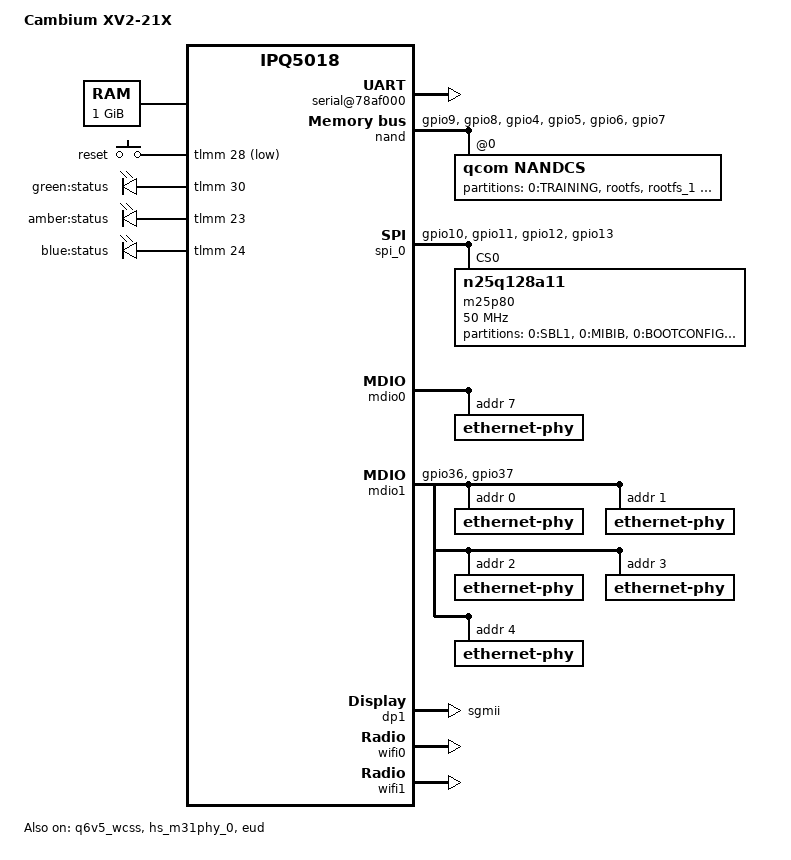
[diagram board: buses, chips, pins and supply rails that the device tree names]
// SPDX-License-Identifier: GPL-2.0
/dts-v1/;
/* Copyright (c) 2018-2021, The Linux Foundation. All rights reserved.
 *
 * Copyright (c) 2021 Qualcomm Innovation Center, Inc. All rights reserved.
 *
 * Permission to use, copy, modify, and/or distribute this software for any
 * purpose with or without fee is hereby granted, provided that the above
 * copyright notice and this permission notice appear in all copies.
 *
 * THE SOFTWARE IS PROVIDED "AS IS" AND THE AUTHOR DISCLAIMS ALL WARRANTIES
 * WITH REGARD TO THIS SOFTWARE INCLUDING ALL IMPLIED WARRANTIES OF
 * MERCHANTABILITY AND FITNESS. IN NO EVENT SHALL THE AUTHOR BE LIABLE FOR
 * ANY SPECIAL, DIRECT, INDIRECT, OR CONSEQUENTIAL DAMAGES OR ANY DAMAGES
 * WHATSOEVER RESULTING FROM LOSS OF USE, DATA OR PROFITS, WHETHER IN AN
 * ACTION OF CONTRACT, NEGLIGENCE OR OTHER TORTIOUS ACTION, ARISING OUT OF
 * OR IN CONNECTION WITH THE USE OR PERFORMANCE OF THIS SOFTWARE.
 */

#include "ipq5018.dtsi"
#include <dt-bindings/input/input.h>

/ {
	#address-cells = <0x2>;
	#size-cells = <0x2>;
	model = "Cambium XV2-21X";
	compatible = "cambium,xv2-21x", "qcom,ipq5018-mp03.3", "qcom,ipq5018";
	interrupt-parent = <&intc>;

	/*
	 * XV2-22H has 1GB of DRAM. ipq5018-memory.dtsi hardcodes a 512MB
	 * memory node, which makes the kernel believe RAM ends at 0x60000000 --
	 * exactly where U-Boot loads the boot FIT, so the kernel hangs before
	 * console. Override with the real size (matches vendor + m0vse's
	 * working XV2-22H tree).
	 */
	memory {
		device_type = "memory";
		reg = <0x0 0x40000000 0x0 0x40000000>;
	};

	aliases {
		sdhc1 = &sdhc_1; /* SDC1 eMMC slot */
		serial0 = &blsp1_uart1;
		serial1 = &blsp1_uart2;
		ethernet1 = "/soc/dp1";

		led-boot = &led_power;
		led-failsafe = &led_power;
		led-running = &led_power;
		led-upgrade = &led_power;
	};

	chosen {
		bootargs = "console=ttyMSM0,115200,n8 rw init=/init";
		/*
		 * NOTE: U-Boot overwrites /chosen/bootargs from its own env,
		 * so only bootargs-append survives. Do NOT bother putting
		 * modprobe.blacklist= here -- OpenWrt loads modules with
		 * kmodloader from /etc/modules.d/*, which ignores it (verified:
		 * ath11k loaded anyway). Drop a module's AUTOLOAD instead.
		 */
		bootargs-append = " swiotlb=1 coherent_pool=2M";
		stdout-path = "serial0";
	};

	reserved-memory {
		/*
		 * Console ramoops, for post-mortem of boots that hang before
		 * userspace. Sits immediately above the Q6 carveout, which
		 * ends at 0x4FD00000 (q6_mem_regions = 0x4B000000 + 0x4D00000).
		 * mem-type = <1> (uncached) is REQUIRED -- with the default
		 * cached mapping the zone header is lost in the D-cache across
		 * a reset and pstore finds nothing (same bug as WIFI-15350).
		 */
		ramoops@4FD00000 {
			compatible = "ramoops";
			reg = <0x0 0x4FD00000 0x0 0x100000>;
			console-size = <0x80000>;
			record-size = <0x8000>;
			pmsg-size = <0x8000>;
			ftrace-size = <0x0>;
			mem-type = <1>;
		};

	#ifdef __IPQ_MEM_PROFILE_256_MB__
	/*		   256 MB Profile
	 * +==========+==============+=========================+
	 * |	  |	      |			 |
	 * |  Region  | Start Offset |	  Size	   |
	 * |	  |	      |			 |
	 * +----------+--------------+-------------------------+
	 * |    NSS   |  0x40000000  |	   8MB	   |
	 * +----------+--------------+-------------------------+
	 * |   Linux  |  0x40800000  | Depends on total memory |
	 * +----------+--------------+-------------------------+
	 * |   uboot  |  0x4A600000  |	   4MB	   |
	 * +----------+--------------+-------------------------+
	 * |    SBL   |  0x4AA00000  |	   1MB	   |
	 * +----------+--------------+-------------------------+
	 * |   smem   |  0x4AB00000  |	   1MB	   |
	 * +----------+--------------+-------------------------+
	 * |    TZ    |  0x4AC00000  |	   4MB	   |
	 * +----------+--------------+-------------------------+
	 * |    Q6    |	      |			 |
	 * |   code/  |  0x4B000000  |	  20MB	   |
	 * |   data   |	      |			 |
	 * +----------+--------------+-------------------------+
	 * |  IPQ5018 |	      |			 |
	 * |   data   |  0x4C400000  |	  13MB	   |
	 * +----------+--------------+-------------------------+
	 * |  IPQ5018 |	      |			 |
	 * |  M3 Dump |  0x4D100000  |	   1MB	   |
	 * +----------+--------------+-------------------------+
	 * |  IPQ5018 |	      |			 |
	 * |   QDSS   |  0x4D200000  |	   1MB	   |
	 * +----------+--------------+-------------------------+
	 * | QCN6122_1|	      |			 |
	 * |   data   |  0x4D300000  |	  13MB	   |
	 * +----------+--------------+-------------------------+
	 * | QCN6122_1|	      |			 |
	 * |  M3 Dump |  0x4E000000  |	   1MB	   |
	 * +----------+--------------+-------------------------+
	 * | QCN6122_1|	      |			 |
	 * |   QDSS   |  0x4E100000  |	   1MB	   |
	 * +----------+--------------+-------------------------+
	 * | QCN6122_2|	      |			 |
	 * |   data   |  0x4E200000  |	  13MB	   |
	 * +----------+--------------+-------------------------+
	 * | QCN6122_2|	      |			 |
	 * |  M3 Dump |  0x4EF00000  |	   1MB	   |
	 * +----------+--------------+-------------------------+
	 * | QCN6122_2|	      |			 |
	 * |   QDSS   |  0x4F000000  |	   1MB	   |
	 * +----------+--------------+-------------------------+
	 * |						   |
	 * |	    Rest of the memory for Linux	   |
	 * |						   |
	 * +===================================================+
	 */
		q6_mem_regions: q6_mem_regions@4B000000 {
			no-map;
			reg = <0x0 0x4B000000 0x0 0x4100000>;
		};

		q6_code_data: q6_code_data@4B000000 {
			no-map;
			reg = <0x0 0x4B000000 0x0 0x1400000>;
		};

		q6_ipq5018_data: q6_ipq5018_data@4C400000 {
			no-map;
			reg = <0x0 0x4C400000 0x0 0xD00000>;
		};

		m3_dump: m3_dump@4D100000 {
			no-map;
			reg = <0x0 0x4D100000 0x0 0x100000>;
		};

		q6_etr_region: q6_etr_dump@4D200000 {
			no-map;
			reg = <0x0 0x4D200000 0x0 0x100000>;
		};

		q6_qcn6122_data1: q6_qcn6122_data1@4D300000 {
			no-map;
			reg = <0x0 0x4D300000 0x0 0xD00000>;
		};

		m3_dump_qcn6122_1: m3_dump_qcn6122_1@4E000000 {
			no-map;
			reg = <0x0 0x4E000000 0x0 0x100000>;
		};

		q6_qcn6122_etr_1: q6_qcn6122_etr_1@4E100000 {
			no-map;
			reg = <0x0 0x4E100000 0x0 0x100000>;
		};

		q6_qcn6122_data2: q6_qcn6122_data2@4E200000 {
			no-map;
			reg = <0x0 0x4E200000 0x0 0xD00000>;
		};

		m3_dump_qcn6122_2: m3_dump_qcn6122_2@4EF00000 {
			no-map;
			reg = <0x0 0x4EF00000 0x0 0x100000>;
		};

		q6_qcn6122_etr_2: q6_qcn6122_etr_2@4F000000 {
			no-map;
			reg = <0x0 0x4F000000 0x0 0x100000>;
		};
	#else
	/*		 512MB/1GB Profiles
	 * +==========+==============+=========================+
	 * |	  |	      |			 |
	 * |  Region  | Start Offset |	  Size	   |
	 * |	  |	      |			 |
	 * +----------+--------------+-------------------------+
	 * |    NSS   |  0x40000000  |	  16MB	   |
	 * +----------+--------------+-------------------------+
	 * |   Linux  |  0x41000000  | Depends on total memory |
	 * +----------+--------------+-------------------------+
	 * |   uboot  |  0x4A600000  |	   4MB	   |
	 * +----------+--------------+-------------------------+
	 * |    SBL   |  0x4AA00000  |	   1MB	   |
	 * +----------+--------------+-------------------------+
	 * |   smem   |  0x4AB00000  |	   1MB	   |
	 * +----------+--------------+-------------------------+
	 * |    TZ    |  0x4AC00000  |	   4MB	   |
	 * +----------+--------------+-------------------------+
	 * |    Q6    |	      |			 |
	 * |   code/  |  0x4B000000  |	  20MB	   |
	 * |   data   |	      |			 |
	 * +----------+--------------+-------------------------+
	 * |  IPQ5018 |	      |			 |
	 * |   data   |  0x4C400000  |	  13MB	   |
	 * +----------+--------------+-------------------------+
	 * |  IPQ5018 |	      |			 |
	 * |  M3 Dump |  0x4D100000  |	   1MB	   |
	 * +----------+--------------+-------------------------+
	 * |  IPQ5018 |	      |			 |
	 * |   QDSS   |  0x4D200000  |	   1MB	   |
	 * +----------+--------------+-------------------------+
	 * |  IPQ5018 |	      |			 |
	 * |  Caldb   |  0x4D300000  |	   2MB	   |
	 * +----------+--------------+-------------------------+
	 * | QCN6122_1|	      |			 |
	 * |   data   |  0x4D500000  |	  13MB	   |
	 * +----------+--------------+-------------------------+
	 * | QCN6122_1|	      |			 |
	 * |  M3 Dump |  0x4E200000  |	   1MB	   |
	 * +----------+--------------+-------------------------+
	 * | QCN6122_1|	      |			 |
	 * |   QDSS   |  0x4E300000  |	   1MB	   |
	 * +----------+--------------+-------------------------+
	 * | QCN6122_1|	      |			 |
	 * |  Caldb   |  0x4E400000  |	   5MB	   |
	 * +----------+--------------+-------------------------+
	 * | QCN6122_2|	      |			 |
	 * |   data   |  0x4E900000  |	  13MB	   |
	 * +----------+--------------+-------------------------+
	 * | QCN6122_2|	      |			 |
	 * |  M3 Dump |  0x4F600000  |	   1MB	   |
	 * +----------+--------------+-------------------------+
	 * | QCN6122_2|	      |			 |
	 * |   QDSS   |  0x4F700000  |	   1MB	   |
	 * +----------+--------------+-------------------------+
	 * | QCN6122_2|	      |			 |
	 * |  Caldb   |  0x4F800000  |	   5MB	   |
	 * +----------+--------------+-------------------------+
	 * |						   |
	 * |	    Rest of the memory for Linux	   |
	 * |						   |
	 * +===================================================+
	 */
		q6_mem_regions: q6_mem_regions@4B000000 {
			no-map;
			reg = <0x0 0x4B000000 0x0 0x4D00000>;
		};

		q6_code_data: q6_code_data@4B000000 {
			no-map;
			reg = <0x0 0x4B000000 0x0 01400000>;
		};

		q6_ipq5018_data: q6_ipq5018_data@4C400000 {
			no-map;
			reg = <0x0 0x4C400000 0x0 0xD00000>;
		};

		m3_dump: m3_dump@4D100000 {
			no-map;
			reg = <0x0 0x4D100000 0x0 0x100000>;
		};

		q6_etr_region: q6_etr_dump@4D200000 {
			no-map;
			reg = <0x0 0x4D200000 0x0 0x100000>;
		};

		q6_caldb_region: q6_caldb_region@4D300000 {
			no-map;
			reg = <0x0 0x4D300000 0x0 0x200000>;
		};

		q6_qcn6122_data1: q6_qcn6122_data1@4D500000 {
			no-map;
			reg = <0x0 0x4D500000 0x0 0xD00000>;
		};

		m3_dump_qcn6122_1: m3_dump_qcn6122_1@4E200000 {
			no-map;
			reg = <0x0 0x4E200000 0x0 0x100000>;
		};

		q6_qcn6122_etr_1: q6_qcn6122_etr_1@4E300000 {
			no-map;
			reg = <0x0 0x4E300000 0x0 0x100000>;
		};

		q6_qcn6122_caldb_1: q6_qcn6122_caldb_1@4E400000 {
			no-map;
			reg = <0x0 0x4E400000 0x0 0x500000>;
		};

		q6_qcn6122_data2: q6_qcn6122_data2@4E900000 {
			no-map;
			reg = <0x0 0x4E900000 0x0 0xD00000>;
		};

		m3_dump_qcn6122_2: m3_dump_qcn6122_2@4F600000 {
			no-map;
			reg = <0x0 0x4F600000 0x0 0x100000>;
		};

		q6_qcn6122_etr_2: q6_qcn6122_etr_2@4F700000 {
			no-map;
			reg = <0x0 0x4F700000 0x0 0x100000>;
		};

		q6_qcn6122_caldb_2: q6_qcn6122_caldb_2@4F800000 {
			no-map;
			reg = <0x0 0x4F800000 0x0 0x500000>;
		};

	#endif
	};

	soc {
		serial@78af000 {
			status = "ok";
		};

		blsp1_uart2: serial@78b0000 {
			pinctrl-0 = <&blsp1_uart_pins>;
			pinctrl-names = "default";
		};

		qpic_bam: dma@7984000{
			status = "ok";
		};

		nand: qpic-nand@79b0000 {
			pinctrl-0 = <&qspi_nand_pins>;
			pinctrl-names = "default";
			status = "ok";

			/*
			 * Partitions transcribed verbatim from this unit's own
			 * OEM DTB (nandcs@0). Without them the kernel exposes
			 * only mtd0 (whole 256MB chip), which breaks sysupgrade
			 * and leaves find_mtd_chardev() with nothing to find.
			 * Bank A (rootfs) is the ACTIVE Cambium OS on this unit;
			 * bank B (rootfs_1) is what we stage RAM-boot images into.
			 */
			nandcs@0 {
				compatible = "qcom,nandcs";
				reg = <0>;
				#address-cells = <1>;
				#size-cells = <1>;
				nand-ecc-strength = <4>;
				nand-ecc-step-size = <512>;
				nand-bus-width = <8>;

				partition@0 {
					label = "0:TRAINING";
					reg = <0x0 0x80000>;
				};

				partition@80000 {
					label = "rootfs";
					reg = <0x80000 0x6000000>;
				};

				partition@6080000 {
					label = "rootfs_1";
					reg = <0x6080000 0x6000000>;
				};

				partition@c080000 {
					label = "0:NVRAM";
					reg = <0xc080000 0x2f80000>;
				};

				partition@f000000 {
					label = "0:crashLog";
					reg = <0xf000000 0x1000000>;
				};
			};
		};

		spi_0: spi@78b5000 { /* BLSP1 QUP0 */
			pinctrl-0 = <&blsp0_spi_pins>;
			pinctrl-names = "default";
			cs-select = <0>;
			status = "ok";

			m25p80@0 {
				#address-cells = <1>;
				#size-cells = <1>;
				reg = <0>;
				compatible = "n25q128a11";
				linux,modalias = "m25p80", "n25q128a11";
				spi-max-frequency = <50000000>;
				use-default-sizes;

				/*
				 * NOR map from this unit's OEM DTB (m25p80@0).
				 * Two of these are load-bearing:
				 *   0:ART      - ath11k caldata is extracted from
				 *                here (0x1000 for IPQ5018, 0x26800
				 *                for QCN6122, 0x20000 each -- both
				 *                verified byte-exact against the
				 *                caldata we pulled off this unit).
				 *   0:APPSBLENV- the U-Boot environment, so
				 *                fw_setenv works from OpenWrt.
				 */
				partition@0 {
					label = "0:SBL1";
					reg = <0x0 0x30000>;
				};

				partition@30000 {
					label = "0:MIBIB";
					reg = <0x30000 0x10000>;
				};

				partition@40000 {
					label = "0:BOOTCONFIG";
					reg = <0x40000 0x10000>;
				};

				partition@50000 {
					label = "0:BOOTCONFIG1";
					reg = <0x50000 0x10000>;
				};

				partition@60000 {
					label = "0:QSEE";
					reg = <0x60000 0xa0000>;
				};

				partition@100000 {
					label = "0:QSEE_1";
					reg = <0x100000 0xa0000>;
				};

				partition@1a0000 {
					label = "0:DEVCFG";
					reg = <0x1a0000 0x10000>;
				};

				partition@1b0000 {
					label = "mfginfo";
					reg = <0x1b0000 0x10000>;
				};

				partition@1c0000 {
					label = "0:CDT";
					reg = <0x1c0000 0x10000>;
				};

				partition@1d0000 {
					label = "0:CDT_1";
					reg = <0x1d0000 0x10000>;
				};

				partition@1e0000 {
					label = "0:APPSBLENV";
					reg = <0x1e0000 0x10000>;
				};

				partition@1f0000 {
					label = "0:APPSBL";
					reg = <0x1f0000 0xa0000>;
				};

				partition@290000 {
					label = "0:APPSBL_1";
					reg = <0x290000 0xa0000>;
				};

				partition@330000 {
					label = "0:ART";
					reg = <0x330000 0x70000>;
				};
			};
		};

		mdio0: mdio@88000 {
			status = "ok";

			ethernet-phy@0 {
				reg = <7>;
			};
		};

		mdio1: mdio@90000 {
			status = "ok";
			pinctrl-0 = <&mdio1_pins>;
			pinctrl-names = "default";
			phy-reset-gpio = <&tlmm 39 0>;

			ethernet-phy@0 {
				reg = <0x00>;
			};

			ethernet-phy@1 {
				reg = <0x01>;
			};

			ethernet-phy@2 {
				reg = <0x02>;
			};

			ethernet-phy@3 {
				reg = <0x03>;
			};

			ethernet-phy@4 {
				reg = <0x04>;
			};
		};

		ess-instance {
			num_devices = <0x1>; /* XV2-21X ocelot: single internal ESS, no QCA8337 */
			ess-switch@0x39c00000 {
				compatible = "qcom,ess-switch-ipq50xx";
				switch_mac_mode = <0xf>; /* mac mode for uniphy instance*/
				cmnblk_clk = "internal_96MHz"; /* cmnblk clk*/
				device_id = <0>;
				qcom,port_phyinfo {
					port@0 {
						mdio-bus = <&mdio0>;
						port_id = <1>;
						phy_dac = <0x10 0x10>;
						phy_address = <7>;
					};
					port@1 {
						mdio-bus = <&mdio0>;
						port_id = <2>;
						forced-speed = <1000>;
						forced-duplex = <1>;
					};
				};
				led_source@0 {
					source = <0>;
					mode = "normal";
					speed = "all";
					blink_en = "enable";
					active = "high";
				};
			};

		};

		/*
		 * XV2-22H uplink (PoE port) = GMAC0 @0x39c00000, internal PHY at
		 * MDIO addr 7 on mdio@88000, with link polling. Values taken
		 * verbatim from this unit's OEM device tree (dp1) and corroborated
		 * by m0vse's working tree (same IRQ 0x65). The FAP655 template this
		 * file was cloned from described GMAC1 @0x39d00000 instead, i.e. the
		 * wrong MAC entirely, so the physical uplink had no driver node.
		 */
		dp1 {
			device_type = "network";
			compatible = "qcom,nss-dp";
			clocks = <&gcc GCC_SNOC_GMAC0_AXI_CLK>;
			clock-names = "nss-snoc-gmac-axi-clk";
			qcom,id = <1>;
			reg = <0x39C00000 0x10000>;
			interrupts = <GIC_SPI 101 IRQ_TYPE_LEVEL_HIGH>;
			qcom,mactype = <2>;
			qcom,link-poll = <1>;
			qcom,phy-mdio-addr = <7>;
			mdio-bus = <&mdio0>;
			local-mac-address = [000000000000];
			phy-mode = "sgmii";
		};

		nss-macsec1 {
			compatible = "qcom,nss-macsec";
			phy_addr = <0x1c>;
			mdiobus = <&mdio1>;
		};
	};

	qcom,test@0 {
		status = "ok";
	};

	thermal-zones {
		status = "ok";
	};
};

&tlmm {
	pinctrl-0 = <&blsp0_uart_pins &phy_led_pins>;
	pinctrl-names = "default";

	blsp0_uart_pins: uart_pins {
		blsp0_uart_rx_tx {
			pins = "gpio20", "gpio21";
			function = "blsp0_uart0";
			bias-disable;
		};
	};

	blsp1_uart_pins: blsp1_uart_pins {
		blsp1_uart_rx_tx {
			pins = "gpio23", "gpio25", "gpio24", "gpio26";
			function = "blsp1_uart2";
			bias-disable;
		};
	};

	blsp0_spi_pins: blsp0_spi_pins {
		mux {
			pins = "gpio10", "gpio11", "gpio12", "gpio13";
			function = "blsp0_spi";
			drive-strength = <2>;
			bias-disable;
		};
	};

	qspi_nand_pins: qspi_nand_pins {
		qspi_clock {
			pins = "gpio9";
			function = "qspi_clk";
			drive-strength = <8>;
			bias-disable;
		};

		qspi_cs {
			pins = "gpio8";
			function = "qspi_cs";
			drive-strength = <8>;
			bias-disable;
		};

		qspi_data {
			pins = "gpio4", "gpio5", "gpio6", "gpio7";
			function = "qspi_data";
			drive-strength = <8>;
			bias-disable;
		};
	};

	mdio1_pins: mdio_pinmux {
		mux_0 {
			pins = "gpio36";
			function = "mdc";
			drive-strength = <8>;
			bias-pull-up;
		};

		mux_1 {
			pins = "gpio37";
			function = "mdio";
			drive-strength = <8>;
			bias-pull-up;
		};
	};

	phy_led_pins: phy_led_pins {
		gephy_led_pin {
			pins = "gpio46";
			function = "led0";
			drive-strength = <8>;
			bias-pull-down;
		};
	};

	button_pins: button_pins {
		reset_button {
			pins = "gpio28";		/* XV2-22H reset on GPIO28 (OEM DTB) */
			function = "gpio";
			drive-strength = <8>;
			bias-pull-up;
		};
	};

	/*
	 * TODO(LEDs): the XV2-22H OEM DTB carries NO gpio-leds node, so the
	 * real LED GPIOs are unknown. The pins below are inherited from the
	 * FAP655 template (GPIO24/22/23) as placeholders so the led-* aliases
	 * resolve; they will very likely not match the XV2-22H board. Verify
	 * against the physical board / a schematic before trusting the LEDs.
	 */
	leds_pins: leds_pins {
		linux,phandle = <0x4d>;
		phandle = <0x4d>;

		led_green {
			pins = "gpio30";
			function = "gpio";
			bias-pull-down;
			drive-strength = <0x08>;
		};

		led_amber {
			pins = "gpio0";
			function = "gpio";
			bias-pull-down;
			drive-strength = <0x08>;
		};

		led_blue {
			pins = "gpio1";
			function = "gpio";
			bias-pull-down;
			drive-strength = <0x08>;
		};
	};
};

&soc {
	gpio_keys {
		compatible = "gpio-keys";
		pinctrl-0 = <&button_pins>;
		pinctrl-names = "default";
		button@1 {
			label = "reset";
			linux,code = <KEY_RESTART>;
			gpios = <&tlmm 28 GPIO_ACTIVE_LOW>;	/* XV2-22H: GPIO28 (OEM DTB) */
			linux,input-type = <1>;
			debounce-interval = <60>;
		};
	};

	leds {
	      compatible = "gpio-leds";
		pinctrl-0 = <&leds_pins>;
		pinctrl-names = "default";

		/*
		 * XV2-22H LEDs, from this unit's OEM cambium-platform node:
		 *   led-gpio = <0xff 30 0 1>, led-gpio-active-low = <0>
		 *   initial-leds = <0 0 1 0>   (GPIO 0 = amber, lit by U-Boot)
		 * => GPIO 30 green, GPIO 0 amber, GPIO 1 blue, all ACTIVE HIGH.
		 * The FAP655 template used GPIO 24/22/23 ACTIVE_LOW, so a booted
		 * kernel never touched the real LEDs and the panel stayed on
		 * U-Boot's amber -- indistinguishable from a dead kernel.
		 * Green here doubles as our "kernel is alive" indicator.
		 */
		led_power: led-green {
			label = "green:status";
			gpios = <&tlmm 30 GPIO_ACTIVE_HIGH>;
			default-state = "on";
		};

		led-amber {
			label = "amber:status";
			gpios = <&tlmm 23 GPIO_ACTIVE_HIGH>;	/* XV2-21X ocelot: amber GPIO23 */
			default-state = "off";
		};

		led-blue {
			label = "blue:status";
			gpios = <&tlmm 24 GPIO_ACTIVE_HIGH>;	/* XV2-21X ocelot: blue GPIO24 */
			default-state = "off";
		};
	};
};

&q6v5_wcss {
	compatible = "qcom,ipq5018-q6-mpd";
	#address-cells = <1>;
	#size-cells = <1>;
	ranges;
	firmware = "IPQ5018/q6_fw.mdt";
	reg = <0x0cd00000 0x4040>,
		<0x1938000 0x8>,
		<0x193d204 0x4>;
	reg-names = "qdsp6",
			"tcsr-msip",
			"tcsr-q6";
	resets = <&gcc GCC_WCSSAON_RESET>,
			<&gcc GCC_WCSS_Q6_BCR>;

	reset-names = "wcss_aon_reset",
			"wcss_q6_reset";

	clocks = <&gcc GCC_Q6_AXIS_CLK>,
		<&gcc GCC_WCSS_ECAHB_CLK>,
		<&gcc GCC_Q6_AXIM_CLK>,
		<&gcc GCC_Q6_AXIM2_CLK>,
		<&gcc GCC_Q6_AHB_CLK>,
		<&gcc GCC_Q6_AHB_S_CLK>,
		<&gcc GCC_WCSS_AXI_S_CLK>;
	clock-names = "gcc_q6_axis_clk",
		"gcc_wcss_ecahb_clk",
		"gcc_q6_axim_clk",
		"gcc_q6_axim2_clk",
		"gcc_q6_ahb_clk",
		"gcc_q6_ahb_s_clk",
		"gcc_wcss_axi_s_clk";

	#ifdef __IPQ_MEM_PROFILE_256_MB__
		memory-region = <&q6_mem_regions>, <&q6_etr_region>;
	#else
		memory-region = <&q6_mem_regions>, <&q6_etr_region>,
				<&q6_caldb_region>;
	#endif

	qcom,rproc = <&q6v5_wcss>;
	qcom,bootargs_smem = <507>;
	boot-args = <0x1 0x4 0x3 0x0F 0x0 0x0>,
			<0x2 0x4 0x2 0x12 0x0 0x0>;
	status = "ok";
	q6_wcss_pd1: remoteproc_pd1@4ab000 {
		compatible = "qcom,ipq5018-wcss-ahb-mpd";
		reg = <0x4ab000 0x20>;
		reg-names = "rmb";
		firmware = "IPQ5018/q6_fw.mdt";
		m3_firmware = "IPQ5018/m3_fw.mdt";
		interrupts-extended = <&wcss_smp2p_in 8 0>,
					<&wcss_smp2p_in 9 0>,
					<&wcss_smp2p_in 12 0>,
					<&wcss_smp2p_in 11 0>;
		interrupt-names = "fatal",
					"ready",
					"spawn-ack",
					"stop-ack";

		resets = <&gcc GCC_WCSSAON_RESET>,
				<&gcc GCC_WCSS_BCR>,
				<&gcc GCC_CE_BCR>;
		reset-names = "wcss_aon_reset",
				"wcss_reset",
				"ce_reset";

		clocks = <&gcc GCC_WCSS_AHB_S_CLK>,
				<&gcc GCC_WCSS_ACMT_CLK>,
				<&gcc GCC_WCSS_AXI_M_CLK>;
		clock-names = "gcc_wcss_ahb_s_clk",
					"gcc_wcss_acmt_clk",
					"gcc_wcss_axi_m_clk";

		qcom,halt-regs = <&tcsr_q6_block 0xa000 0xd000 0x0>;

		qcom,smem-states = <&wcss_smp2p_out 8>,
					<&wcss_smp2p_out 9>,
					<&wcss_smp2p_out 10>;
		qcom,smem-state-names = "shutdown",
					"stop",
					"spawn";
	#ifdef __IPQ_MEM_PROFILE_256_MB__
		memory-region = <&q6_ipq5018_data>, <&m3_dump>,
				<&q6_etr_region>;
	#else
		memory-region = <&q6_ipq5018_data>, <&m3_dump>,
				<&q6_etr_region>, <&q6_caldb_region>;
	#endif

	};

	q6_wcss_pd2: remoteproc_pd2 {
		compatible = "qcom,ipq5018-wcss-pcie-mpd";
		firmware = "IPQ5018/q6_fw.mdt";
		m3_firmware = "qcn6122/m3_fw.mdt";
		interrupts-extended = <&wcss_smp2p_in 16 0>,
					<&wcss_smp2p_in 17 0>,
					<&wcss_smp2p_in 20 0>,
					<&wcss_smp2p_in 19 0>;
		interrupt-names = "fatal",
					"ready",
					"spawn-ack",
					"stop-ack";

		qcom,smem-states = <&wcss_smp2p_out 16>,
					<&wcss_smp2p_out 17>,
					<&wcss_smp2p_out 18>;
		qcom,smem-state-names = "shutdown",
					"stop",
					"spawn";
	#ifdef __IPQ_MEM_PROFILE_256_MB__
		memory-region = <&q6_qcn6122_data1>, <&m3_dump_qcn6122_1>,
				<&q6_qcn6122_etr_1>;
	#else
		memory-region = <&q6_qcn6122_data1>, <&m3_dump_qcn6122_1>,
				<&q6_qcn6122_etr_1>, <&q6_qcn6122_caldb_1>;
	#endif

	};

	q6_wcss_pd3: remoteproc_pd3 {
		compatible = "qcom,ipq5018-wcss-pcie-mpd";
		firmware = "IPQ5018/q6_fw.mdt";
		interrupts-extended = <&wcss_smp2p_in 24 0>,
					<&wcss_smp2p_in 25 0>,
					<&wcss_smp2p_in 28 0>,
					<&wcss_smp2p_in 27 0>;
		interrupt-names = "fatal",
					"ready",
					"spawn-ack",
					"stop-ack";

		qcom,smem-states = <&wcss_smp2p_out 24>,
					<&wcss_smp2p_out 25>,
					<&wcss_smp2p_out 26>;
		qcom,smem-state-names = "shutdown",
					"stop",
					"spawn";
	#ifdef	__IPQ_MEM_PROFILE_256_MB__
		memory-region = <&q6_qcn6122_data2>, <&m3_dump_qcn6122_2>,
				<&q6_qcn6122_etr_2>;
	#else
		memory-region = <&q6_qcn6122_data2>, <&m3_dump_qcn6122_2>,
				<&q6_qcn6122_etr_2>, <&q6_qcn6122_caldb_2>;
	#endif
	};
};

&wifi0 {
	/* IPQ5018 */
	qcom,multipd_arch;
	qcom,rproc = <&q6_wcss_pd1>;
	qcom,userpd-subsys-name = "q6v5_wcss_userpd1";
#ifdef __IPQ_MEM_PROFILE_256_MB__
	qcom,tgt-mem-mode = <2>;
#else
	qcom,tgt-mem-mode = <1>;
#endif
	/*
	 * 0x24, not the FAP655's 0x23. Corroborated three ways for this board:
	 * Cambium's own bootargs (cnss2.bdf_integrated=0x24), the BDF we pulled
	 * off this unit (caldata/IPQ5018_bdwlan.b24), and cig-wf186w.dts -- the
	 * shipping/tested IPQ5018+1x QCN6122 board with our exact topology.
	 * (With a flat board.bin installed ath11k uses it regardless of board_id,
	 * so this is a correctness fix, not necessarily a functional one.)
	 */
	qcom,board_id = <0x24>;
#ifdef __CNSS2__
	qcom,bdf-addr = <0x4C400000 0x4C400000 0x4C400000 0x0 0x0>;
	qcom,caldb-addr = <0x4D300000 0x4D300000 0 0 0>;
	qcom,caldb-size = <0x200000>;
	mem-region = <&q6_ipq5018_data>;
#else
	memory-region = <&q6_ipq5018_data>;
#endif
	status = "ok";
};

&wifi1 {
	/* QCN6122 5G */
	qcom,multipd_arch;
	qcom,userpd-subsys-name = "q6v5_wcss_userpd2";
	qcom,rproc = <&q6_wcss_pd2>;
#ifdef __IPQ_MEM_PROFILE_256_MB__
	qcom,tgt-mem-mode = <2>;
#else
	qcom,tgt-mem-mode = <1>;
#endif
	/*
	 * 0x50 = this unit's OWN QCN6122 board data (its byte 0x3a is 0x50), which we
	 * now ship with a 2-byte fix: polDivEN at 0x45c cleared 0x03->0x00 plus the
	 * XOR checksum at 0x0a. Cambium set polDivEN but left antennaChainsToAxisMapping
	 * (0x460-63) all zero, so map_spruce asserted
	 *   phyrf_bdf.c:6245 Assertion axis_value == ANTENNACHAIN_AXIS_Z failed
	 * Note Cambium's IPQ5018 BDF has the same stale polDivEN=3 + zero axis map and
	 * works fine (polDiv is a 5/6 GHz feature), so clearing it loses nothing.
	 * emplus-wap581 is the precedent: 0x50-class BDF declared as <0x50>.
	 */
	qcom,board_id = <0x50>;
#ifdef __CNSS2__
	qcom,bdf-addr = <0x4D500000 0x4D500000 0x4D300000 0x0 0x0>;
	qcom,caldb-addr = <0x4E400000 0x4E400000 0 0 0>;
	qcom,caldb-size = <0x500000>;
	mem-region = <&q6_qcn6122_data1>;
#else
	memory-region = <&q6_qcn6122_data1>;
#endif
	status = "ok";
};

&wifi2 {
	/* QCN6122 6G */
	qcom,multipd_arch;
	qcom,userpd-subsys-name = "q6v5_wcss_userpd3";
	qcom,rproc = <&q6_wcss_pd3>;
#ifdef __IPQ_MEM_PROFILE_256_MB__
	qcom,tgt-mem-mode = <2>;
#else
	qcom,tgt-mem-mode = <1>;
#endif
	qcom,board_id = <0xb0>;
#ifdef __CNSS2__
	qcom,bdf-addr = <0x4E900000 0x4E900000 0x4E200000 0x0 0x0>;
	qcom,caldb-addr = <0x4F800000 0x4F800000 0 0 0>;
	qcom,caldb-size = <0x500000>;
	mem-region = <&q6_qcn6122_data2>;
#else
	memory-region = <&q6_qcn6122_data2>;
#endif
	status = "disabled";
};

&usb3 {
       /* XV2-22H is a wall-plate AP with no exposed USB port. */
       status = "disabled";
};

&dwc_0 {
       /delete-property/ #phy-cells;
       /delete-property/ phys;
       /delete-property/ phy-names;
};

&hs_m31phy_0 {
       status = "ok";
};

&eud {
	status = "ok";
};

&pcie_x1 {
	perst-gpio = <&tlmm 18 GPIO_ACTIVE_LOW>;
};

&pcie_x2 {
	perst-gpio = <&tlmm 15 GPIO_ACTIVE_LOW>;
};

&pcie_x1_rp {
	status = "disabled";

	mhi_0: qcom,mhi@0 {
		reg = <0 0 0 0 0 >;
	};
};

&pcie_x2_rp {
	status = "disabled";

	mhi_1: qcom,mhi@1 {
		reg = <0 0 0 0 0 >;

	};
};
